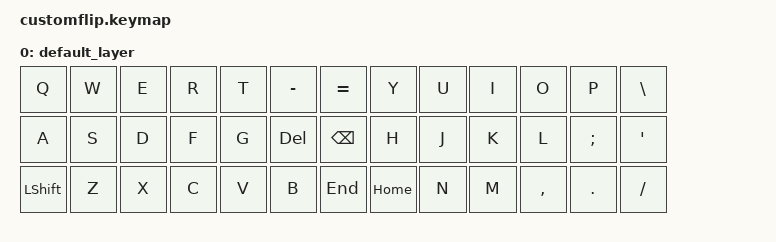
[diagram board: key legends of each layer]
/*
 * Copyright (c) 2020 The ZMK Contributors
 *
 * SPDX-License-Identifier: MIT
 */

#include <behaviors.dtsi>
#include <dt-bindings/zmk/keys.h>
#include <dt-bindings/zmk/bt.h>

#define DEFAULT 0
#define LOWER   1
#define RAISE   2


/ {
        keymap {
                compatible = "zmk,keymap";

                default_layer {
/* QWERTY
 * .----------------------------------------------------------------------------------------------------------------------.
 * |  `   |   1  |   2  |   3  |   4  |   5  |  [   |                    |  ]   |   6  |   7  |   8  |   9  |   0  | PScr |
 * |------+------+------+------+------+------+------+--------------------+------+------+------+------+------+------+------|
 * | ESC  |   Q  |   W  |   E  |   R  |   T  |  -   |                    |  =   |   Y  |   U  |   I  |   O  |   P  |  \   |
 * |------+------+------+------+------+------+------+--------------------+------+------+------+------+------+------+------|
 * | Tab  |   A  |   S  |   D  |   F  |   G  | Del  |                    | Bksp |   H  |   J  |   K  |   L  |   ;  |  '   |
 * |------+------+------+------+------+------+---------------------------+------+------+------+------+------+------+------|
 * | Shift|   Z  |   X  |   C  |   V  |   B  | End  |                    | Home |   N  |   M  |   ,  |   .  |   /  | Shift|
 * |-------------+------+------+------+------+------+------+------+------+------+------+------+------+------+-------------|
 * | Ctrl |      | PGDN | Win  |||||||| Alt  | Space| Lower|||||||| Raise| Enter| RAlt ||||||||      | PGUP | Ins  | RCtrl|
 * .----------------------------------------------------------------------------------------------------------------------.
 */
                        bindings = <
&kp  Q        &kp  W        &kp  E        &kp  R        &kp  T        &kp  MINUS    &kp  EQUAL    &kp  Y        &kp  U        &kp  I        &kp  O        &kp  P        &kp  BSLH
&kp  A        &kp  S        &kp  D        &kp  F        &kp  G        &kp  DEL      &kp  BSPC     &kp  H        &kp  J        &kp  K        &kp  L        &kp  SEMI     &kp  SQT
&kp  LSHFT    &kp  Z        &kp  X        &kp  C        &kp  V        &kp  B        &kp  END      &kp  HOME     &kp  N        &kp  M        &kp  COMMA    &kp  DOT      &kp  SLASH
                        >;
                };
//                lower_layer {
///* .----------------------------------------------------------------------------------------------------------------------.
// * |  F11 |  F1  |  F2  |  F3  |  F4  |  F5  |      |                    |      |  F6  |  F7  |  F8  |  F9  |  F10 |  F12 |
// * |------+------+------+------+------+------+------+--------------------+------+------+------+------+------+------+------|
// * |      |      |      |      |      |      |      |                    |      |      |      |      |      |      |      |
// * |------+------+------+------+------+------+------+--------------------+------+------+------+------+------+------+------|
// * |      |      |      |      |      |      |      |                    |      |      |      |      |      |      |      |
// * |------+------+------+------+------+------+---------------------------+------+------+------+------+------+------+------|
// * | Shift| Boot | Reset|      |      |      |      |                    |      |      |      |      |      |      | Shift|
// * |-------------+------+------+------+------+------+------+------+------+------+------+------+------+------+-------------|
// * | Ctlr |      |      |  Win |||||||| Alt  |      | Lower|||||||| Raise|      | RAlt ||||||||      |      |      | RCtrl|
// * .----------------------------------------------------------------------------------------------------------------------.
// */ /* FIXME boot and reset are not yet locale aware */
//                        bindings = <
//&kp  F11      &kp  F1       &kp  F2       &kp  F3       &kp  F4       &kp  F5       &kp  &none             &kp  &none    &kp  F6       &kp  F7       &kp  F8       &kp  F9       &kp  F10      &kp  F12
//&none         &none         &none         &none         &none         &none         &none                  &none         &none         &none         &none         &none         &none         &none
//&none         &none         &none         &none         &none         &none         &none                  &none         &none         &none         &none         &none         &none         &none
//&trans        &bootloader   &reset        &none         &none         &none         &none                  &none         &none         &none         &none         &none         &none         &trans
//&trans        &none         &none         &trans        &trans        &none         &trans                 &trans        &none         &trans        &none         &none         &none         &trans
 //                       >;
 //               };
//                raise_layer {
///* .----------------------------------------------------------------------------------------------------------------------.
// * |      | BT 0 | BT 1 | BT 2 | BT 3 |      | BTCL |                    |      |      |      |      |      |      |      |
// * |------+------+------+------+------+------+------+--------------------+------+------+------+------+------+------+------|
// * |      |      |      |      |      |      |      |                    |      |      |      |      |      |      |      |
// * |------+------+------+------+------+------+------+--------------------+------+------+------+------+------+------+------|
// * |      |      |      |      |      |      |      |                    |      |      |      |      |      |      |      |
// * |------+------+------+------+------+------+---------------------------+------+------+------+------+------+------+------|
// * | Shift|      |      |      |      |      |      |                    |      |      |      |      | Boot | Reset| Shift|
// * |-------------+------+------+------+------+------+------+------+------+------+------+------+------+------+-------------|
// * | Ctlr |      |      |  Win |||||||| Alt  |      | Lower|||||||| Raise|      | RAlt ||||||||      |      |      | RCtrl|
// * .----------------------------------------------------------------------------------------------------------------------.
// */ /* FIXME boot and reset are not yet locale aware */
//                        bindings = <
//&none         &bt BT_SEL 0  &bt BT_SEL 1  &bt BT_SEL 2  &bt BT_SEL 3  &none         &bt BT_CLR             &none         &none         &none         &none         &none         &none         &none
//&none         &none         &none         &none         &none         &none         &none                  &none         &none         &none         &none         &none         &none         &none
//&none         &none         &none         &none         &none         &none         &none                  &none         &none         &none         &none         &none         &none         &none
//&trans        &none         &none         &none         &none         &none         &none                  &none         &none         &none         &none         &bootloader   &reset        &trans
//&trans        &none         &none         &trans        &trans        &none         &trans                 &trans        &none         &trans        &none         &none         &none         &trans
//                        >;
//                };
//        };
//};
